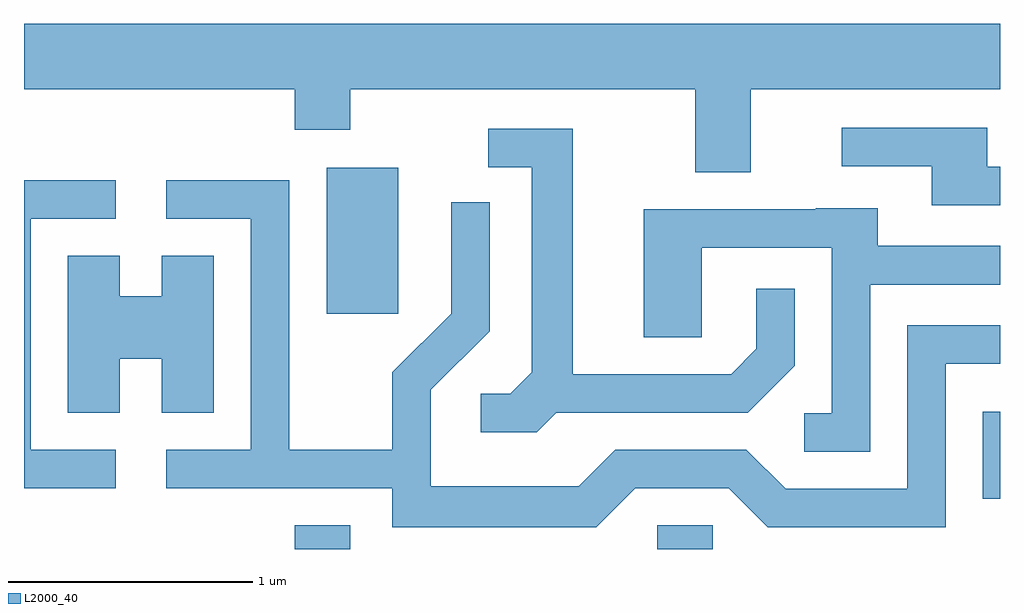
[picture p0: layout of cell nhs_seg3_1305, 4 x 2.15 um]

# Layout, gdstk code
import gdstk
lib = gdstk.Library(unit=1e-6, precision=1e-09)
def R(c, l, rs):  # rectangles x0, y0, x1, y1
    for r in rs: c.add(gdstk.rectangle(r[:2], r[2:], *l))
def P(c, l, *ps):  # polygons
    for p in ps: c.add(gdstk.Polygon(p, *l))
L2000_40 = (2000, 40)

nhs_seg3_1305 = lib.new_cell('nhs_seg3_1305')
R(nhs_seg3_1305, L2000_40, [(224.721,1141.892,224.949,1141.989), (226.206,1141.892,226.434,1141.989), (227.541,1142.098,227.611,1142.454), (224.851,1142.856,225.144,1143.454)])
P(nhs_seg3_1305, L2000_40, [(226.589,1143.776),(227.611,1143.776),(227.611,1144.044),(223.611,1144.044),(223.611,1143.776),(224.721,1143.776),(224.721,1143.611),(224.949,1143.611),(224.949,1143.776),(226.361,1143.776),(226.361,1143.436),(226.589,1143.436)],
  [(227.611,1143.459),(227.559,1143.459),(227.559,1143.619),(226.963,1143.619),(226.963,1143.461),(227.331,1143.461),(227.331,1143.301),(227.611,1143.301)],
  [(225.792,1142.451),(226.577,1142.451),(226.769,1142.644),(226.769,1142.958),(226.611,1142.958),(226.611,1142.712),(226.509,1142.609),(225.859,1142.609),(225.859,1143.614),(225.513,1143.614),(225.513,1143.456),(225.691,1143.456),(225.691,1142.617),(225.604,1142.529),(225.483,1142.529),(225.483,1142.371),(225.712,1142.371)],
  [(223.988,1142.299),(223.639,1142.299),(223.639,1143.246),(223.988,1143.246),(223.988,1143.404),(223.611,1143.404),(223.611,1142.141),(223.988,1142.141)],
  [(226.117,1142.141),(226.499,1142.141),(226.659,1141.981),(227.389,1141.981),(227.389,1142.651),(227.611,1142.651),(227.611,1142.809),(227.231,1142.809),(227.231,1142.139),(226.732,1142.139),(226.572,1142.299),(226.034,1142.299),(225.884,1142.149),(225.279,1142.149),(225.279,1142.544),(225.519,1142.784),(225.519,1143.313),(225.361,1143.313),(225.361,1142.857),(225.121,1142.617),(225.121,1142.299),(224.699,1142.299),(224.699,1143.404),(224.193,1143.404),(224.193,1143.246),(224.541,1143.246),(224.541,1142.299),(224.193,1142.299),(224.193,1142.141),(225.121,1142.141),(225.121,1141.981),(225.957,1141.981)],
  [(227.079,1142.976),(227.611,1142.976),(227.611,1143.134),(227.109,1143.134),(227.109,1143.289),(226.855,1143.289),(226.855,1143.284),(226.151,1143.284),(226.151,1142.761),(226.389,1142.761),(226.389,1143.126),(226.921,1143.126),(226.921,1142.449),(226.808,1142.449),(226.808,1142.291),(227.079,1142.291)],
  [(224.004,1142.671),(224.176,1142.671),(224.176,1142.451),(224.389,1142.451),(224.389,1143.094),(224.176,1143.094),(224.176,1142.929),(224.004,1142.929),(224.004,1143.094),(223.791,1143.094),(223.791,1142.451),(224.004,1142.451)])

lib.write_gds('nhs_seg3_1305.gds')
